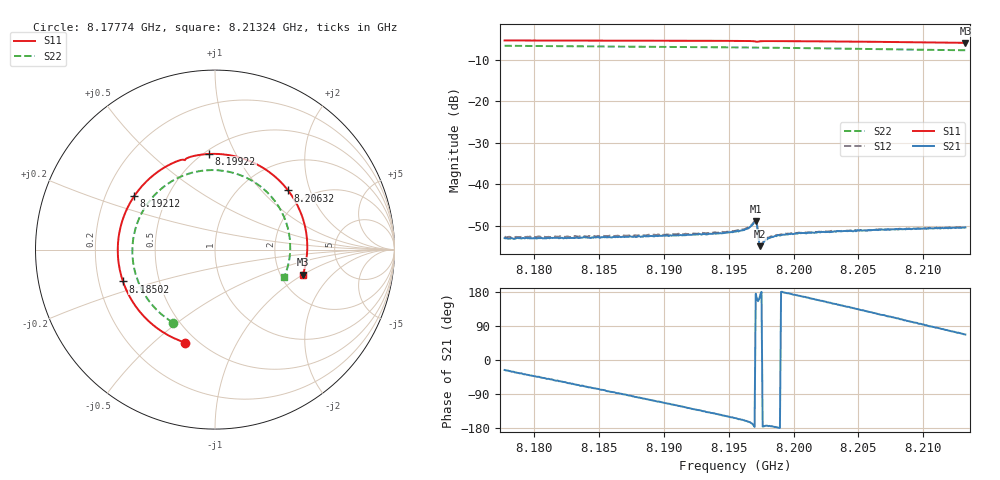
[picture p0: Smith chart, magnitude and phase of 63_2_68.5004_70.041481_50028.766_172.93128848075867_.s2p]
#  HZ  S  RI  R  50.00
! Rohde & Schwarz Vector Network Analyzer
! Rohde-Schwarz,ZNB20-2Port,1311601062101988,3.16
! Created: UTC 3/20/2024, 5:06:35 PM
! freq[Hz]  re:S11  im:S11  re:S21  im:S21  re:S12  im:S12  re:S22  im:S22
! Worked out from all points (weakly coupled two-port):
!   401 points, 8.17774 GHz to 8.21324 GHz, reference 50 ohm
!   highest |S21| = -48.87 dB at 8.19709 GHz (marker M1); lowest = -54.9 dB at 8.19744 GHz (marker M2)
!   lowest |S11| = -5.9 dB at 8.21324 GHz (marker M3), VSWR 3.08, Z = 133 - j49.7 ohm
!   |S11| at or under -10 dB: nowhere
!   |S22| runs from -7.6 to -6.6 dB; largest |S21 - S12| = 0.00018
!   S11 on the Smith chart (normalised r, x): 8.17774 GHz: 0.43, -0.64; 8.18502 GHz: 0.30, -0.15; 8.19212 GHz: 0.32, +0.27; 8.19922 GHz: 0.53, +0.79; 8.20632 GHz: 1.58, +1.43; 8.21324 GHz: 2.65, -0.99
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8.177742e9  -0.1659 -0.5182  0.00202 -0.001  0.00211 -0.00106  -0.2354 -0.4062
8.180582e9  -0.338 -0.4258  0.00157 -0.00164  0.00158 -0.00168  -0.3556 -0.3019
8.183687e9  -0.4756 -0.2621  0.000863 -0.00211  0.000872 -0.00221  -0.4381 -0.1506
8.185018e9  -0.5129 -0.1773  0.000527 -0.00224  0.000475 -0.00233  -0.455 -0.0783
8.187326e9  -0.5415 -0.0197  -0.000152 -0.00234  -0.000182 -0.00242  -0.4569 0.0495
8.189633e9  -0.5226 0.1401  -0.000812 -0.00226  -0.000928 -0.00231  -0.4231 0.1727
8.192117e9  -0.4502 0.2977  -0.00153 -0.00193  -0.00163 -0.00197  -0.3496 0.2895
8.195489e9  -0.2788 0.4594  -0.00241 -0.00122  -0.00251 -0.00115  -0.2001 0.4023
8.196377e9  -0.2222 0.4881  -0.00275 -0.000956  -0.00286 -0.000833  -0.1537 0.4205
8.196998e9  -0.1772 0.501  -0.00354 -0.000208  -0.00362 -4.6e-05  -0.1202 0.4302
8.197087e9  -0.1708 0.5  -0.00359 0.000328  -0.00363 0.000499  -0.1153 0.4313
8.197441e9  -0.1581 0.5083  -0.00179 0.000243  -0.00182 0.000309  -0.096 0.4355
8.19753e9  -0.1518 0.5114  -0.00189 6.44e-06  -0.00189 9.14e-05  -0.091 0.4365
8.198151e9  -0.1072 0.5241  -0.00224 -0.00024  -0.00232 -0.000113  -0.0562 0.4412
8.199216e9  -0.0317 0.533  -0.00248 7.54e-05  -0.00249 0.000143  0.00416 0.4428
8.201435e9  0.1237 0.5167  -0.0025 0.000834  -0.00248 0.000966  0.1282 0.4194
8.203831e9  0.2782 0.4486  -0.00219 0.00165  -0.00211 0.00177  0.2495 0.3546
8.206315e9  0.4072 0.3296  -0.00156 0.00238  -0.00146 0.00242  0.3484 0.2491
8.20738e9  0.4489 0.2664  -0.00118 0.00258  -0.00111 0.00264  0.3792 0.1941
8.210308e9  0.5114 0.0685  -5.02e-05 0.00296  2.04e-05 0.00297  0.4192 0.0241
8.211728e9  0.5118 -0.0329  0.000558 0.00292  0.000632 0.00295  0.4126 -0.0622
8.213237e9  0.4902 -0.1387  0.00117 0.00279  0.00123 0.00277  0.386 -0.1515
